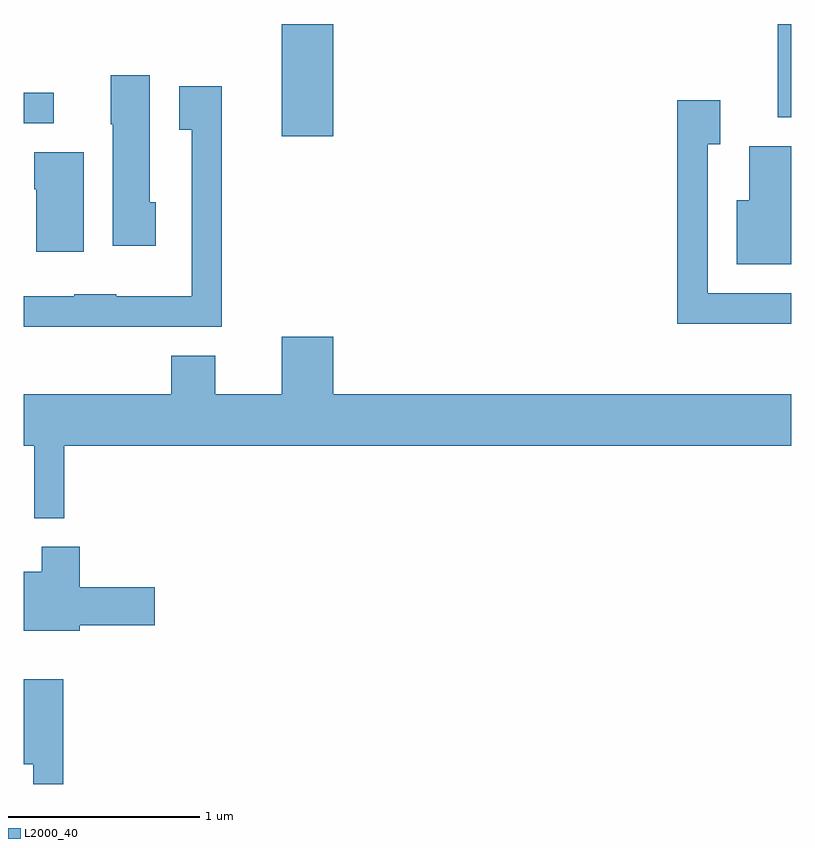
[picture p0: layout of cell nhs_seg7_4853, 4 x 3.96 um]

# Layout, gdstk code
import gdstk
lib = gdstk.Library(unit=1e-6, precision=1e-09)
def R(c, l, rs):  # rectangles x0, y0, x1, y1
    for r in rs: c.add(gdstk.rectangle(r[:2], r[2:], *l))
def P(c, l, *ps):  # polygons
    for p in ps: c.add(gdstk.Polygon(p, *l))
L2000_40 = (2000, 40)

nhs_seg7_4853 = lib.new_cell('nhs_seg7_4853')
R(nhs_seg7_4853, L2000_40, [(334.956,1753.666,335.224,1754.252), (333.611,1753.736,333.768,1753.894), (337.541,1753.766,337.611,1754.252)])
P(nhs_seg7_4853, L2000_40, [(334.299,1753.324),(334.269,1753.324),(334.269,1753.984),(334.066,1753.984),(334.066,1753.73),(334.076,1753.73),(334.076,1753.096),(334.299,1753.096)],
  [(334.644,1753.929),(334.421,1753.929),(334.421,1753.701),(334.486,1753.701),(334.486,1752.834),(334.095,1752.834),(334.095,1752.844),(333.875,1752.844),(333.875,1752.834),(333.611,1752.834),(333.611,1752.676),(334.644,1752.676)],
  [(337.611,1752.849),(337.174,1752.849),(337.174,1753.626),(337.239,1753.626),(337.239,1753.854),(337.016,1753.854),(337.016,1752.691),(337.611,1752.691)],
  [(337.611,1753.614),(337.391,1753.614),(337.391,1753.334),(337.326,1753.334),(337.326,1753.001),(337.611,1753.001)],
  [(333.924,1753.584),(333.666,1753.584),(333.666,1753.39),(333.676,1753.39),(333.676,1753.066),(333.924,1753.066)],
  [(333.824,1752.056),(337.611,1752.056),(337.611,1752.324),(335.224,1752.324),(335.224,1752.624),(334.956,1752.624),(334.956,1752.324),(334.609,1752.324),(334.609,1752.524),(334.381,1752.524),(334.381,1752.324),(333.611,1752.324),(333.611,1752.056),(333.666,1752.056),(333.666,1751.678),(333.824,1751.678)],
  [(333.904,1751.121),(334.294,1751.121),(334.294,1751.319),(333.904,1751.319),(333.904,1751.529),(333.706,1751.529),(333.706,1751.399),(333.611,1751.399),(333.611,1751.091),(333.904,1751.091)],
  [(333.819,1750.839),(333.611,1750.839),(333.611,1750.396),(333.661,1750.396),(333.661,1750.293),(333.819,1750.293)])

lib.write_gds('nhs_seg7_4853.gds')
